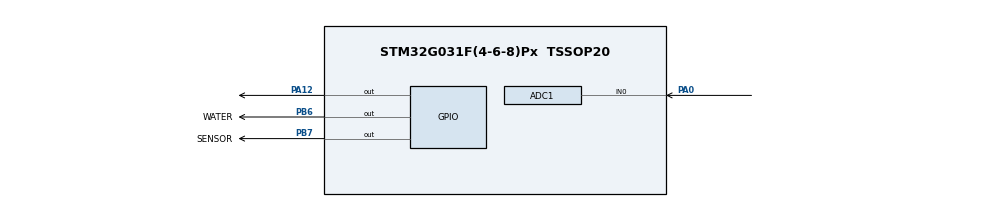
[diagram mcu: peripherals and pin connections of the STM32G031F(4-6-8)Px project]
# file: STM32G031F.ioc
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ADC1.Channel-0\#ChannelRegularConversion=ADC_CHANNEL_0
ADC1.ContinuousConvMode=ENABLE
ADC1.NbrOfConversion=1
ADC1.NbrOfConversionFlag=1
ADC1.Overrun=ADC_OVR_DATA_PRESERVED
ADC1.OversamplingMode=DISABLE
ADC1.Rank-0\#ChannelRegularConversion=1
ADC1.SamplingTime-0\#ChannelRegularConversion=ADC_SAMPLINGTIME_COMMON_1
ADC1.SamplingTimeCommon1=ADC_SAMPLETIME_160CYCLES_5
ADC1.SamplingTimeCommon2=ADC_SAMPLETIME_160CYCLES_5
ADC1.SelectedChannel=ADC_CHANNEL_0
ADC1.master=1
Mcu.Family=STM32G0
Mcu.Name=STM32G031F(4-6-8)Px
Mcu.Package=TSSOP20
NVIC.TIM14_IRQn=true\:0\:0\:false\:false\:true\:true\:true\:true
PA0.Mode=IN0
PA0.Signal=ADC1_IN0
PA12\ [PA10].GPIO_Speed=GPIO_SPEED_FREQ_MEDIUM
PA12\ [PA10].Signal=GPIO_Output
PA14-BOOT0__PA15.StandardMode=true
PB0__PB1__PB2__PA8.StandardMode=true
PB3__PB4__PB5__PB6.StandardMode=true
PB6.GPIO_Label=WATER
PB6.Signal=GPIO_Output
PB7.GPIO_Label=SENSOR
PB7.GPIO_ModeDefaultOutputPP=GPIO_MODE_OUTPUT_OD
PB7.GPIO_PuPd=GPIO_NOPULL
PB7.GPIO_Speed=GPIO_SPEED_FREQ_LOW
PB7.PinState=GPIO_PIN_RESET
PB7.Signal=GPIO_Output
PB7__PB8.StandardMode=true
PC14-OSC32_IN\ (PC14)__PB9.StandardMode=true
ProjectManager.HeapSize=0x200
ProjectManager.StackSize=0x400
ProjectManager.TargetToolchain=EWARM V8.50
RCC.ADCFreq_Value=1000000
RCC.AHBFreq_Value=1000000
RCC.CortexFreq_Value=1000000
RCC.EXTERNAL_CLOCK_VALUE=12288000
RCC.HCLKFreq_Value=1000000
RCC.HSE_VALUE=8000000
RCC.HSISYSCLKDivider=RCC_HSI_DIV16
RCC.HSI_VALUE=16000000
RCC.LSE_VALUE=32768
RCC.SYSCLKFreq_VALUE=1000000
RCC.VCOOutputFreq_Value=128000000
TIM14.AutoReloadPreload=TIM_AUTORELOAD_PRELOAD_ENABLE
TIM14.Period=999
TIM14.Prescaler=999
VP_TIM14_VS_ClockSourceINT.Mode=Enable_Timer
board=custom

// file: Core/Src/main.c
/* USER CODE BEGIN Header */
/**
  ******************************************************************************
  * @file           : main.c
  * @brief          : Main program body
  ******************************************************************************
  * @attention
  *
  * Copyright (c) 2024 STMicroelectronics.
  * All rights reserved.
  *
  * This software is licensed under terms that can be found in the LICENSE file
  * in the root directory of this software component.
  * If no LICENSE file comes with this software, it is provided AS-IS.
  *
  ******************************************************************************
  */
/* USER CODE END Header */
#include "main.h"
#include "adc.h"
#include "tim.h"
#include "gpio.h"

/* USER CODE BEGIN Includes */
#include "nortos.h"
/* USER CODE END Includes */

void SystemClock_Config(void);

/* USER CODE BEGIN 0 */

#define MOISTURE_LOW_TH 2640

uint32_t bufADC[8];
int count = 1900;
char moistureIsLow = 0;

void StopSTP(void){
// LL_TIM_OC_SetCompareCH4(TIM1, 0xFFFF);
}

void readADC(void){

  static unsigned int i  = 0;
  while (LL_ADC_IsActiveFlag_ADRDY(ADC1) == 0);
  LL_ADC_REG_StartConversion(ADC1);
  while (LL_ADC_IsActiveFlag_EOC(ADC1) == 0);
  bufADC[i%8] = LL_ADC_REG_ReadConversionData12(ADC1);
  i++;
  LL_ADC_ClearFlag_EOC(ADC1);
  }

void evaluateMoisture(void){
  int result = 0;
  for(int i = 0; i < 8; i++)
    result += bufADC[i];

  if(result/8 > MOISTURE_LOW_TH)
    moistureIsLow = 1;
  else
    moistureIsLow = 0;

}
/* USER CODE END 0 */

int main(void)
{

  /* MCU Configuration--------------------------------------------------------*/

  /* Reset of all peripherals, Initializes the Flash interface and the Systick. */
  LL_APB2_GRP1_EnableClock(LL_APB2_GRP1_PERIPH_SYSCFG);
  LL_APB1_GRP1_EnableClock(LL_APB1_GRP1_PERIPH_PWR);

  /* SysTick_IRQn interrupt configuration */
  NVIC_SetPriority(SysTick_IRQn, 3);

  /* Configure the system clock */
  SystemClock_Config();

  /* Initialize all configured peripherals */
  MX_GPIO_Init();
  MX_TIM14_Init();
  MX_ADC1_Init();
  /* USER CODE BEGIN 2 */
  LL_TIM_ClearFlag_UPDATE(TIM14); // nejprve pro jistotu vymažeme vlajku
  LL_TIM_EnableIT_UPDATE(TIM14);
  LL_TIM_EnableCounter(TIM14);

  F1_QueueIni();
  F2_QueueIni();

  LL_ADC_EnableInternalRegulator(ADC1);
  LL_mDelay(1);
  LL_ADC_ClearFlag_ADRDY(ADC1);
  LL_ADC_Enable(ADC1);

  /* USER CODE END 2 */

  /* Infinite loop */
  while (1)
  {

    /* USER CODE BEGIN 3 */
    F1_pull()();

  }
  /* USER CODE END 3 */
}

void SystemClock_Config(void)
{
  /* HSI configuration and activation */
  LL_RCC_HSI_Enable();
  while(LL_RCC_HSI_IsReady() != 1)
  {
  }

  LL_RCC_SetHSIDiv(LL_RCC_HSI_DIV_16);
  /* Set AHB prescaler*/
  LL_RCC_SetAHBPrescaler(LL_RCC_SYSCLK_DIV_1);

  /* Sysclk activation on the HSI */
  LL_RCC_SetSysClkSource(LL_RCC_SYS_CLKSOURCE_HSI);
  while(LL_RCC_GetSysClkSource() != LL_RCC_SYS_CLKSOURCE_STATUS_HSI)
  {
  }

  /* Set APB1 prescaler*/
  LL_RCC_SetAPB1Prescaler(LL_RCC_APB1_DIV_1);

  LL_Init1msTick(1000000);

  /* Update CMSIS variable (which can be updated also through SystemCoreClockUpdate function) */
  LL_SetSystemCoreClock(1000000);
}

/* USER CODE BEGIN 4 */

void TIM14_Reload_Callback(void){
 //static int count = 0;

  switch(count){
      case 1:
   //            LL_GPIO_SetOutputPin(GPIOB, SENSOR_Pin); // Disable Sensor
               if(moistureIsLow)
                    LL_GPIO_SetOutputPin(GPIOB, WATER_Pin); // start watering
               break;
      case 3:
      case 4:
               LL_GPIO_ResetOutputPin(GPIOB, WATER_Pin);// stop watering
               break;
      case 1990:
    //           LL_GPIO_ResetOutputPin(GPIOB, SENSOR_Pin); // Enable Sensor
               break;

      case 1992:
      case 1993:
      case 1994:
      case 1995:
      case 1996:
      case 1997:
      case 1998:
      case 1999:  F1_push(readADC);
                  F1_push(evaluateMoisture);

  }

  count++;
  count%=2000;
}

/* USER CODE END 4 */

void Error_Handler(void)
{
  __disable_irq();
  while (1)
  {
  }
}
